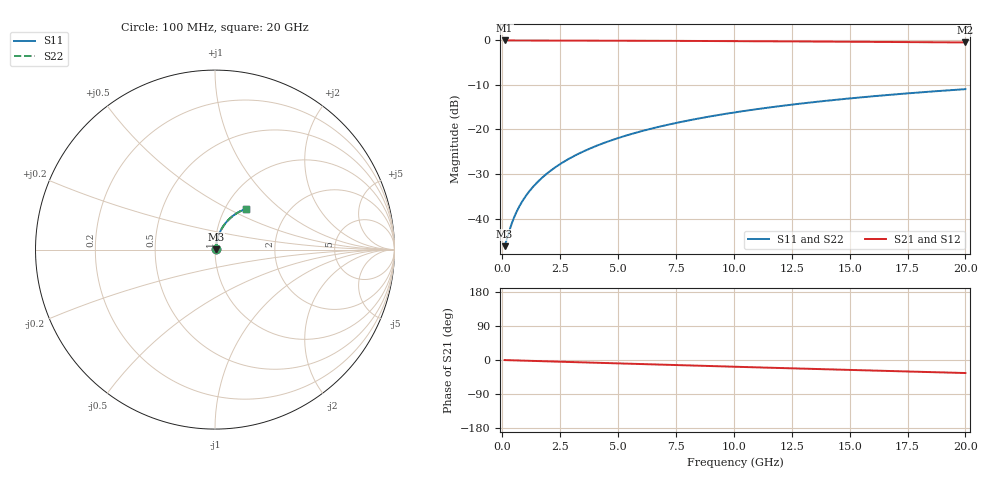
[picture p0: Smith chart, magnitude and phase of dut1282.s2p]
! Touchstone file exported from HFSS 2026.1.0
!  File:  C:/ffzhzh/LocalFiles/Ansys_Project_Files/temp_train_TMRDL_1282_1783164369_51560.aedt
!  Generated:  07:27:22 PM Jul  4, 2026
!  Design:  TMRDL
!  Project:  temp_train_TMRDL_1282_1783164369_51560
! Variables:
!  h_bsmrdl = 2um
!  h_ox = 20um
!  h_rdl = 5um
!  h_sub = 80um
!  h_tmrdl = 2.65um
!  h_tsv = 80um
!  h_via = 3um
!  l_bsmrdl = 300um
!  l_sub = 926.09um
!  l_tmrdl = 526.09um
!  m_sub = 200um
!  pitch = 30.34um
!  r_tsv = 6um
!  s_tmrdl = 10um
!  w_bsmrdl = 18um
!  w_sub = 500um
!  w_tmrdl = 16.07um
!  x_tsv_center1 = 534.125um
!  x_tsv_center2 = 852.125um
!  x_tsv_center3 = 1394.285um
!  x_tsv_center4 = 1712.285um
!  x_tsv_center5 = 2254.445um
!  x_tsv_center6 = 2572.445um
# GHz S MA R 50.000000
! Terminal data exported
! Port[1] = TM_RDL1_1_T1
! Port[2] = TM_RDL1_1_T2
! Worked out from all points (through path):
!   200 points, 100 MHz to 20 GHz, reference 50 ohm
!   highest |S21| = -0.04 dB at 100 MHz (marker M1); lowest = -0.5 dB at 20 GHz (marker M2)
!   group delay of S21, straight-line fit = 4.78 ps
!   lowest |S11| = -46.2 dB at 100 MHz (marker M3), VSWR 1.01, Z = 50.5 + j0.185 ohm
!   |S11| at or under -10 dB: start of sweep to end of sweep
!   |S22| runs from -46.2 to -11.0 dB; largest |S21 - S12| = 2.6e-15
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0.1  0.004912 21.9  0.9954 -0.2  0.9954 -0.2  0.004912 21.9
! Gamma 0 0 0 0
! Port Impedance 50 0 50 0
0.4  0.008686 54.5  0.995 -0.8  0.995 -0.8  0.008686 54.5
0.5  0.01017 58.9  0.9949 -0.9  0.9949 -0.9  0.01017 58.9
0.6  0.01168 62.2  0.9947 -1.1  0.9947 -1.1  0.01168 62.2
0.7  0.01318 64.6  0.9946 -1.3  0.9946 -1.3  0.01318 64.6
0.9  0.0162 68.2  0.9943 -1.7  0.9943 -1.7  0.0162 68.2
1.2  0.02076 71.7  0.994 -2.2  0.994 -2.2  0.02076 71.7
1.4  0.02383 73.2  0.9939 -2.6  0.9939 -2.6  0.02383 73.2
1.7  0.02847 74.8  0.9936 -3.1  0.9936 -3.1  0.02847 74.8
2.2  0.03626 76.3  0.9932 -4.0  0.9932 -4.0  0.03626 76.2
2.8  0.04567 77.0  0.9927 -5.1  0.9927 -5.1  0.04567 77.0
3.5  0.05665 77.1  0.9919 -6.3  0.9919 -6.3  0.05666 77.1
4.2  0.06761 76.7  0.991 -7.6  0.991 -7.6  0.06761 76.7
5  0.08006 75.9  0.9897 -9.0  0.9897 -9.0  0.08006 75.9
5.9  0.09393 74.9  0.9881 -10.6  0.9881 -10.6  0.09393 74.9
6.8  0.1076 73.7  0.9863 -12.2  0.9863 -12.2  0.1076 73.6
8.3  0.1301 71.4  0.9829 -14.8  0.9829 -14.8  0.1301 71.4
10.1  0.1563 68.6  0.9783 -17.9  0.9783 -17.9  0.1563 68.6
11.7  0.1788 66.1  0.9737 -20.7  0.9737 -20.7  0.1788 66.1
13.4  0.2019 63.4  0.9684 -23.5  0.9684 -23.5  0.2019 63.3
16.7  0.2442 58.1  0.9574 -29.0  0.9574 -29.0  0.2442 58.1
20  0.2831 53.0  0.9457 -34.4  0.9457 -34.4  0.2831 52.9
